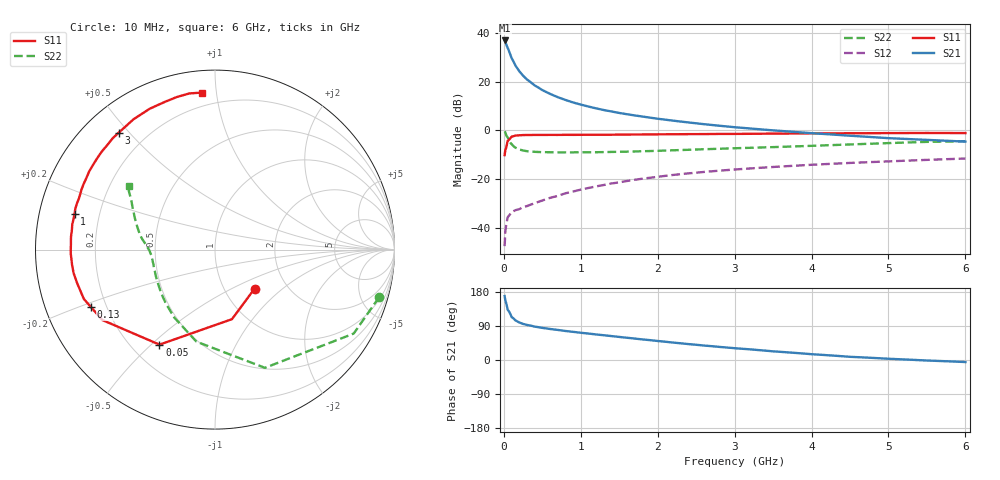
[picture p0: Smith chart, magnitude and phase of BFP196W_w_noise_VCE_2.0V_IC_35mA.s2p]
! (c) 2017  Infineon Technologies AG, Munich
! Infineon Technologies  Discrete & RF Semiconductors
! BFP196W
! VCE =  2.0 V,  IC =  35 mA
! Common Emitter S-Parameters:  Jan 2017
# GHz  S  MA  R  50
!  f  S11  S21  S12  S22
! GHz  MAG  ANG  MAG  ANG  MAG  ANG  MAG  ANG
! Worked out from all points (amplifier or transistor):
!   77 points, 10 MHz to 6 GHz, reference 50 ohm
!   highest |S21| = 36.9 dB at 10 MHz (marker M1)
!   |S21| within 3 dB of that: start of sweep to 49.13 MHz
!   unconditionally stable (mu >= 1): 696.8 MHz to 3.416 GHz
!   at 130 MHz: K = 0.36, MSG = 30.5 dB, |S12| = -33.1 dB
!   at 2.2 GHz: K = 1.04, MAG = 9.9 dB, |S12| = -18.3 dB
!   at 6 GHz: K = 0.96, MSG = 3.5 dB, |S12| = -11.6 dB
!   lowest NFmin = 1.19 dB at 450 MHz
!   S11 on the Smith chart (normalised r, x): 10 MHz: 1.38, -0.66; 50 MHz: 0.31, -0.53; 130 MHz: 0.14, -0.22; 1 GHz: 0.11, +0.12; 3 GHz: 0.10, +0.47; 6 GHz: 0.12, +0.92
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0.01  0.3096 -44.5  69.65 168.7  0.0042 78.4  0.952 -16.2
0.02  0.399 -76.3  65.37 157.0  0.0087 71.1  0.9033 -31.2
0.05  0.6131 -120.3  48.95 132.6  0.0164 49.7  0.715 -67.1
0.1  0.7406 -148.0  30.46 113.4  0.0207 38.8  0.5231 -101.4
0.13  0.7611 -155.0  24.96 108.9  0.0221 37.5  0.467 -112.4
0.15  0.7807 -159.4  21.42 104.6  0.023 36.7  0.441 -121.1
0.2  0.7901 -166.1  16.35 99.1  0.0241 37.3  0.4049 -132.9
0.25  0.7985 -170.5  13.19 95.2  0.0266 40.7  0.3852 -141.3
0.3  0.8008 -173.7  11.05 92.6  0.0279 42.9  0.373 -147.1
0.4  0.8042 -178.6  8.348 88.1  0.0319 47.1  0.3619 -155.1
0.5  0.8033 178.1  6.685 84.8  0.0363 50.5  0.3564 -160.1
0.6  0.8055 175.0  5.593 81.9  0.0411 52.4  0.3552 -163.7
0.8  0.8075 170.0  4.2 76.6  0.051 57.0  0.3531 -168.5
1  0.8078 165.7  3.369 71.9  0.0607 58.6  0.3544 -172.0
1.1  0.8109 163.6  3.071 69.8  0.0656 58.8  0.3548 -173.1
1.5  0.8156 155.8  2.269 60.9  0.0855 58.6  0.3624 -177.9
2.1  0.8279 144.4  1.651 48.2  0.1163 55.1  0.3842 176.3
3  0.8439 129.5  1.157 31.1  0.157 47.7  0.4284 168.3
3.1  0.8452 128.0  1.123 29.6  0.1609 46.9  0.4329 167.3
4.1  0.865 113.7  0.853 14.1  0.1997 38.8  0.4863 157.4
5.1  0.8771 103.0  0.679 2.4  0.2338 30.7  0.5529 148.3
6  0.8776 94.6  0.586 -5.4  0.2635 23.8  0.5967 143.4
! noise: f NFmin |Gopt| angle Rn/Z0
0.45  1.19  0.46  180  0.06
0.9  1.33  0.53  -174  0.06
1.9  2.17  0.68  -151  0.13
2.4  2.57  0.73  -145  0.23
